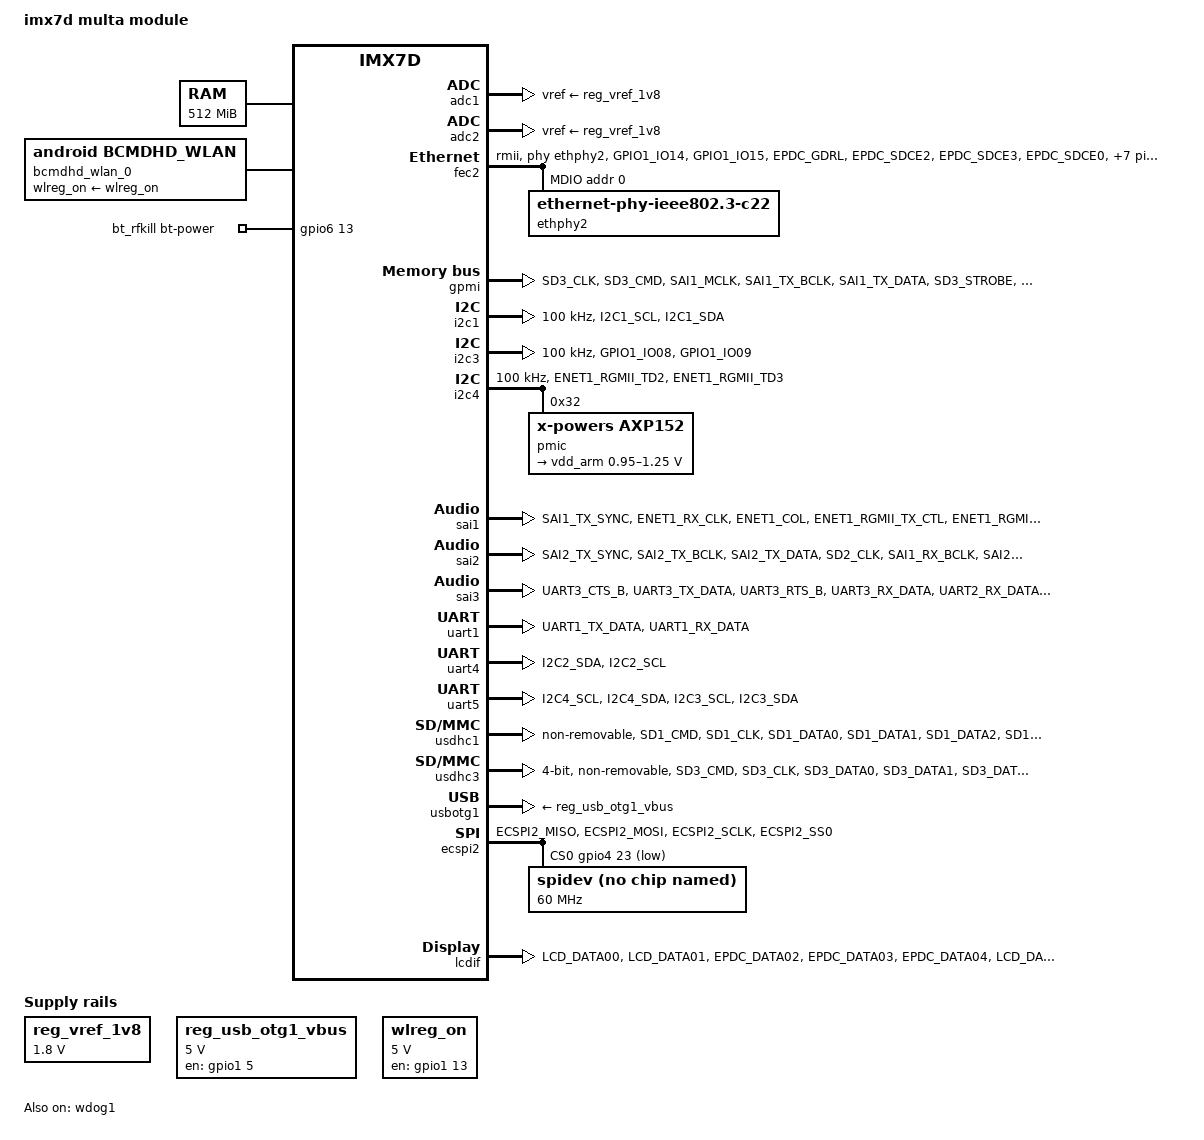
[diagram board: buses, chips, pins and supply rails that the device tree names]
/*
 * This program is free software; you can redistribute it and/or modify
 * it under the terms of the GNU General Public License version 2 as
 * published by the Free Software Foundation.
 */

#include <dt-bindings/input/input.h>
#include "imx7d.dtsi"

/ {
	model = "imx7d multa module";
	compatible = "fsl,imx7d";

	aliases {
		mxcfb0 = &mxcfb1;
	};

	memory {
		reg = <0x80000000 0x20000000>;
	};

	regulators {
		compatible = "simple-bus";
		#address-cells = <1>;
		#size-cells = <0>;

		reg_vref_1v8: regulator@0 {
			compatible = "regulator-fixed";
			reg = <0>;
			regulator-name = "vref-1v8";
			regulator-min-microvolt = <1800000>;
			regulator-max-microvolt = <1800000>;
		};

		reg_usb_otg1_vbus: regulator@1 {
			pinctrl-names = "default";
			pinctrl-0 = <&pinctrl_usbotg2_pwr_1>;
			compatible = "regulator-fixed";
			reg = <0>;
			regulator-name = "usb_otg1_vbus";
			regulator-min-microvolt = <5000000>;
			regulator-max-microvolt = <5000000>;
			gpio = <&gpio1 5 GPIO_ACTIVE_HIGH>;
			enable-active-high;
		};

		wlreg_on: fixedregulator@100 {
			compatible = "regulator-fixed";
			regulator-min-microvolt = <5000000>;
			regulator-max-microvolt = <5000000>;
			regulator-name = "wlreg_on";
			gpio = <&gpio1 13 GPIO_ACTIVE_HIGH>;
			enable-active-high;
		};
	};

	sound-xtor-1 {
		compatible = "fsl,imx-audio-xtor";
		model = "xtor-audio-1";
		cpu-dai = <&sai1>;
		clocks = <&clks IMX7D_AUDIO_MCLK_ROOT_CLK>;
		clock-names = "mclk";
	};

	sound-xtor-2 {
		compatible = "fsl,imx-audio-xtor";
		model = "xtor-audio-2";
		cpu-dai = <&sai2>;
	};

	sound-xtor-3 {
		compatible = "fsl,imx-audio-xtor";
		model = "xtor-audio-3";
		cpu-dai = <&sai3>;
		rx-cb-slave = <1>;
		rx-cf-slave = <1>;
	};

	bcmdhd_wlan_0: bcmdhd_wlan@0 {
		compatible = "android,bcmdhd_wlan";
		wlreg_on-supply = <&wlreg_on>;
	};

	bt_rfkill {
		compatible = "fsl,mxc_bt_rfkill";
		bt-power-gpios = <&gpio6 13 0>;
		status ="okay";
	};

	mxcfb1: fb@0 {
		compatible = "fsl,mxc_sdc_fb";
		disp_dev = "lcdif";
		interface_pix_fmt = "RGB24";
		default_bpp = <32>;
		int_clk = <0>;
		late_init = <0>;
		status = "okay";
	};
};

&adc1 {
	vref-supply = <&reg_vref_1v8>;
	status = "okay";
};

&adc2 {
	vref-supply = <&reg_vref_1v8>;
	status = "okay";
};

&caam_sm {
	status = "disabled";
};

&caam_snvs {
	status = "disabled";
};

&cpu0 {
	arm-supply = <&vdd_arm>;
};

&crypto {
	status = "disabled";
};

&fec2 {
	pinctrl-names = "default";
	pinctrl-0 = <&pinctrl_enet2>;
	status = "okay";
	pinctrl-assert-gpios = <&gpio5 11 GPIO_ACTIVE_LOW>;

	assigned-clocks = <&clks IMX7D_ENET2_TIME_ROOT_SRC>,
			  <&clks IMX7D_ENET2_TIME_ROOT_CLK>,
			  <&clks IMX7D_ENET2_REF_ROOT_SRC>,
			  <&clks IMX7D_ENET2_REF_ROOT_CLK>;
	assigned-clock-parents = <&clks IMX7D_PLL_ENET_MAIN_100M_CLK>, <0>, <&clks IMX7D_PLL_ENET_MAIN_50M_CLK>, <0>;
	assigned-clock-rates = <0>, <100000000>, <0>, <50000000>;

	/* Override this list so we can change the last one (enet_out) */
	clocks = <&clks IMX7D_ENET_AXI_ROOT_CLK>,
		 <&clks IMX7D_ENET_AXI_ROOT_CLK>,
		 <&clks IMX7D_ENET2_TIME_ROOT_CLK>,
		 <&clks IMX7D_PLL_ENET_MAIN_125M_CLK>,
		 <&clks IMX7D_ENET2_REF_ROOT_CLK>;

	phy-mode = "rmii";

	phy-reset-gpios = <&gpio5 0 GPIO_ACTIVE_LOW>;
	phy-reset-duration = <10>;

	phy-handle = <&ethphy2>;

	mdio_bus: mdio {
		#address-cells = <1>;
		#size-cells = <0>;

		/* NOTE: The phy address of this node gets patched by U-Boot before booting,
		 * we need this to easily support the legacy L1 modules. Keep this in mind
		 * if you want to change anything here.
		 */
		ethphy2: ethernet-phy@0 {
			compatible = "ethernet-phy-ieee802.3-c22";
			reg = <0>;
		};
	};
};

&gpmi {
	pinctrl-names = "default";
	pinctrl-0 = <&pinctrl_gpmi_nand_1>;
	status = "okay";
	nand-on-flash-bbt;
};

&i2c1 {
	clock-frequency = <100000>;
	pinctrl-names = "default";
	pinctrl-0 = <&pinctrl_i2c1>;
	status = "okay";
};

&i2c3 {
	clock-frequency = <100000>;
	pinctrl-names = "default";
	pinctrl-0 = <&pinctrl_i2c3>;
	status = "okay";
};

&i2c4 {
	clock-frequency = <100000>;
	pinctrl-names = "default";
	pinctrl-0 = <&pinctrl_i2c4>;
	status = "okay";

	pmic: axp152@32 {
		compatible = "x-powers,axp152";
		reg = <0x32>;

		regulators {
			vdd_arm: dcdc4 {
				regulator-name = "vdd_arm";
				regulator-min-microvolt = <950000>;
				regulator-max-microvolt = <1250000>;
				regulator-boot-on;
				regulator-always-on;
			};
		};
	};

};

&irq_sec_vio {
	status = "disabled";
};

/*
 * NOTES for the last number in every line:
 * 	PAD_CTL_PUS_100K_DOWN	(0 << 5)
 * 	PAD_CTL_PUS_5K_UP	(1 << 5)
 * 	PAD_CTL_PUS_47K_UP	(2 << 5)
 * 	PAD_CTL_PUS_100K_UP	(3 << 5)
 * 	PAD_CTL_PUE		(1 << 4)
 * 	PAD_CTL_HYS		(1 << 3)
 * 	PAD_CTL_SRE_SLOW	(1 << 2)
 * 	PAD_CTL_SRE_FAST	(0 << 2)
 * 	PAD_CTL_DSE_X1		(0 << 0) \
 * 	PAD_CTL_DSE_X2		(2 << 0)  |___ NOTE: the numbering here is not a typo!
 * 	PAD_CTL_DSE_X4		(1 << 0)  |
 * 	PAD_CTL_DSE_X6		(3 << 0) /
 * 	NO_PAD_CTL		(1 << 31): indicate this pin does not need config.
 * 	SIO			(1 << 30): Software Input On Field.
 */
&iomuxc {
	pinctrl-names = "default";
	pinctrl-0 = <&pinctrl_32kHz>, <&pinctrl_gpio>;

	imx7d-multa {

		pinctrl_bt_wake: btwake {
			fsl,pins = <
				MX7D_PAD_SD2_WP__GPIO5_IO10		0x14
			 >;
		 };

		pinctrl_gpio: gpio {
			fsl,pins = <
				 MX7D_PAD_GPIO1_IO11__GPIO1_IO11	0x14
			>;
		};

		pinctrl_wifi: wifigrp {
			fsl,pins = <
				MX7D_PAD_ECSPI2_SCLK__GPIO4_IO20	0x14 /* PCIE_W_DISABLE */
				MX7D_PAD_ECSPI2_SS0__GPIO4_IO23		0x14 /* PCIE_PERSTN */
				MX7D_PAD_SD1_RESET_B__GPIO5_IO2		0x14 /* WiFi PDn */
			>;
		};

		pinctrl_32kHz: _32kHzgrp {
			fsl,pins = <
				MX7D_PAD_SD1_WP__CCM_CLKO2		0x14
			>;
		};

		pinctrl_enet2: enet2grp {
			fsl,pins = <
				MX7D_PAD_GPIO1_IO14__ENET2_MDIO		0x03
				MX7D_PAD_GPIO1_IO15__ENET2_MDC		0x03

				MX7D_PAD_EPDC_GDRL__ENET2_RGMII_TX_CTL	0x01
				MX7D_PAD_EPDC_SDCE2__ENET2_RGMII_TD0	0x01
				MX7D_PAD_EPDC_SDCE3__ENET2_RGMII_TD1	0x01

				MX7D_PAD_EPDC_SDCE0__ENET2_RGMII_RX_CTL	0x01
				MX7D_PAD_EPDC_SDCLK__ENET2_RGMII_RD0	0x01
				MX7D_PAD_EPDC_SDLE__ENET2_RGMII_RD1	0x01
				MX7D_PAD_EPDC_SDCE1__ENET2_RX_ER	0x01

				MX7D_PAD_EPDC_BDR0__CCM_ENET_REF_CLK2	0x40000001

				/* IRQ */
				MX7D_PAD_SD2_RESET_B__GPIO5_IO11	0x80000000

				/* nRESET pin */
				MX7D_PAD_SD1_CD_B__GPIO5_IO0	0x80000000
			>;
		};

		pinctrl_gpmi_nand_1: gpmi-nand-1 {
			fsl,pins = <
				MX7D_PAD_SD3_CLK__NAND_CLE		0x71
				MX7D_PAD_SD3_CMD__NAND_ALE		0x71
				MX7D_PAD_SAI1_MCLK__NAND_WP_B		0x71
				MX7D_PAD_SAI1_TX_BCLK__NAND_CE0_B	0x71
				MX7D_PAD_SAI1_TX_DATA__NAND_READY_B	0x74
				MX7D_PAD_SD3_STROBE__NAND_RE_B		0x71
				MX7D_PAD_SD3_RESET_B__NAND_WE_B		0x71
				MX7D_PAD_SD3_DATA0__NAND_DATA00		0x71
				MX7D_PAD_SD3_DATA1__NAND_DATA01		0x71
				MX7D_PAD_SD3_DATA2__NAND_DATA02		0x71
				MX7D_PAD_SD3_DATA3__NAND_DATA03		0x71
				MX7D_PAD_SD3_DATA4__NAND_DATA04		0x71
				MX7D_PAD_SD3_DATA5__NAND_DATA05		0x71
				MX7D_PAD_SD3_DATA6__NAND_DATA06		0x71
				MX7D_PAD_SD3_DATA7__NAND_DATA07		0x71
			>;
		};

		pinctrl_i2c1: i2c1grp {
			 fsl,pins = <
				MX7D_PAD_I2C1_SCL__I2C1_SCL         0x4000007f
				MX7D_PAD_I2C1_SDA__I2C1_SDA         0x4000007f
			>;
		};

		pinctrl_i2c3: i2c3grp {
			 fsl,pins = <
				MX7D_PAD_GPIO1_IO08__I2C3_SCL       0x4000007f
				MX7D_PAD_GPIO1_IO09__I2C3_SDA       0x4000007f
			>;
		};

		pinctrl_i2c4: i2c4grp {
			fsl,pins = <
				MX7D_PAD_ENET1_RGMII_TD2__I2C4_SCL	0x4000007f
				MX7D_PAD_ENET1_RGMII_TD3__I2C4_SDA	0x4000007f
			>;
		};

		pinctrl_sai1: sai1grp {
			fsl,pins = <
				MX7D_PAD_SAI1_TX_SYNC__SAI1_TX_SYNC         0x13
				MX7D_PAD_ENET1_RX_CLK__SAI1_TX_BCLK   	    0x13
				MX7D_PAD_ENET1_COL__SAI1_TX_DATA0	          0x13
				MX7D_PAD_ENET1_RGMII_TX_CTL__SAI1_RX_SYNC  	0x13
				MX7D_PAD_ENET1_RGMII_TXC__SAI1_RX_BCLK	    0x13
				MX7D_PAD_SAI1_RX_DATA__SAI1_RX_DATA0	      0x13
			>;
		};

		pinctrl_sai2: sai2grp {
			fsl,pins = <
				MX7D_PAD_SAI2_TX_SYNC__SAI2_TX_SYNC     0x13
				MX7D_PAD_SAI2_TX_BCLK__SAI2_TX_BCLK     0x13
				MX7D_PAD_SAI2_TX_DATA__SAI2_TX_DATA0	  0x13
				MX7D_PAD_SD2_CLK__SAI2_RX_SYNC          0x13
				MX7D_PAD_SAI1_RX_BCLK__SAI2_RX_BCLK   	0x13
				MX7D_PAD_SAI2_RX_DATA__SAI2_RX_DATA0    0x13
			>;
		};

		pinctrl_sai3: sai3grp {
			fsl,pins = <
				MX7D_PAD_UART3_CTS_B__SAI3_TX_SYNC        0x13
				MX7D_PAD_UART3_TX_DATA__SAI3_TX_BCLK      0x13
				MX7D_PAD_UART3_RTS_B__SAI3_TX_DATA0 	    0x13
				MX7D_PAD_UART3_RX_DATA__SAI3_RX_SYNC      0x13
				MX7D_PAD_UART2_RX_DATA__SAI3_RX_BCLK      0x13
				MX7D_PAD_UART2_TX_DATA__SAI3_RX_DATA0 	  0x13
			>;
		};

		pinctrl_uart1: uart1grp {
			fsl,pins = <
				MX7D_PAD_UART1_TX_DATA__UART1_DCE_TX	0x79
				MX7D_PAD_UART1_RX_DATA__UART1_DCE_RX	0x79
			>;
		};

		pinctrl_uart4: uart4grp {
			fsl,pins = <
				MX7D_PAD_I2C2_SDA__UART4_DCE_TX    0x79
				MX7D_PAD_I2C2_SCL__UART4_DCE_RX    0x79
			>;
		};

		pinctrl_uart5: uart5grp {
			fsl,pins = <
				MX7D_PAD_I2C4_SCL__UART5_DCE_RX		0x79
				MX7D_PAD_I2C4_SDA__UART5_DCE_TX		0x79
				MX7D_PAD_I2C3_SCL__UART5_DCE_CTS	0x79
				MX7D_PAD_I2C3_SDA__UART5_DCE_RTS	0x79
			>;
		};
		pinctrl_usdhc1: usdhc1grp {
			fsl,pins = <
				MX7D_PAD_SD1_CMD__SD1_CMD		0x59
				MX7D_PAD_SD1_CLK__SD1_CLK		0x19
				MX7D_PAD_SD1_DATA0__SD1_DATA0		0x59
				MX7D_PAD_SD1_DATA1__SD1_DATA1		0x59
				MX7D_PAD_SD1_DATA2__SD1_DATA2		0x59
				MX7D_PAD_SD1_DATA3__SD1_DATA3		0x59
				MX7D_PAD_SD1_RESET_B__SD1_RESET_B	0x59
				MX7D_PAD_GPIO1_IO13__GPIO1_IO13		0x59	/* WL_REG_ON */
				MX7D_PAD_SAI1_TX_BCLK__GPIO6_IO13	0x59	/* BT_REG_ON */
			>;
		};

		pinctrl_usdhc1_100mhz: usdhc1grp_100mhz {
			fsl,pins = <
				MX7D_PAD_SD1_CMD__SD1_CMD		0x5a
				MX7D_PAD_SD1_CLK__SD1_CLK		0x1a
				MX7D_PAD_SD1_DATA0__SD1_DATA0		0x5a
				MX7D_PAD_SD1_DATA1__SD1_DATA1		0x5a
				MX7D_PAD_SD1_DATA2__SD1_DATA2		0x5a
				MX7D_PAD_SD1_DATA3__SD1_DATA3		0x5a
			>;
		};

		pinctrl_usdhc1_200mhz: usdhc1grp_200mhz {
			fsl,pins = <
				MX7D_PAD_SD1_CMD__SD1_CMD		0x5b
				MX7D_PAD_SD1_CLK__SD1_CLK		0x1b
				MX7D_PAD_SD1_DATA0__SD1_DATA0		0x5b
				MX7D_PAD_SD1_DATA1__SD1_DATA1		0x5b
				MX7D_PAD_SD1_DATA2__SD1_DATA2		0x5b
				MX7D_PAD_SD1_DATA3__SD1_DATA3		0x5b
			>;
		};

		pinctrl_usdhc3: usdhc3grp {
			fsl,pins = <
				MX7D_PAD_SD3_CMD__SD3_CMD		0x59
				MX7D_PAD_SD3_CLK__SD3_CLK		0x19
				MX7D_PAD_SD3_DATA0__SD3_DATA0		0x59
				MX7D_PAD_SD3_DATA1__SD3_DATA1		0x59
				MX7D_PAD_SD3_DATA2__SD3_DATA2		0x59
				MX7D_PAD_SD3_DATA3__SD3_DATA3		0x59
				MX7D_PAD_SD3_DATA4__SD3_DATA4		0x59
				MX7D_PAD_SD3_DATA5__SD3_DATA5		0x59
				MX7D_PAD_SD3_DATA6__SD3_DATA6		0x59
				MX7D_PAD_SD3_DATA7__GPIO6_IO9		0x59 /* cpu module sd cd pin */
			>;
		};

		pinctrl_usdhc3_100mhz: usdhc3grp_100mhz {
			fsl,pins = <
				MX7D_PAD_SD3_CMD__SD3_CMD		0x5a
				MX7D_PAD_SD3_CLK__SD3_CLK		0x1a
				MX7D_PAD_SD3_DATA0__SD3_DATA0		0x5a
				MX7D_PAD_SD3_DATA1__SD3_DATA1		0x5a
				MX7D_PAD_SD3_DATA2__SD3_DATA2		0x5a
				MX7D_PAD_SD3_DATA3__SD3_DATA3		0x5a
				MX7D_PAD_SD3_DATA4__SD3_DATA4		0x5a
				MX7D_PAD_SD3_DATA5__SD3_DATA5		0x5a
				MX7D_PAD_SD3_DATA6__SD3_DATA6		0x5a
				MX7D_PAD_SD3_DATA7__GPIO6_IO9		0x15 /* cpu module sd cd pin */
			>;
		};

		pinctrl_usdhc3_200mhz: usdhc3grp_200mhz {
			fsl,pins = <
				MX7D_PAD_SD3_CMD__SD3_CMD		0x5b
				MX7D_PAD_SD3_CLK__SD3_CLK		0x1b
				MX7D_PAD_SD3_DATA0__SD3_DATA0		0x5b
				MX7D_PAD_SD3_DATA1__SD3_DATA1		0x5b
				MX7D_PAD_SD3_DATA2__SD3_DATA2		0x5b
				MX7D_PAD_SD3_DATA3__SD3_DATA3		0x5b
				MX7D_PAD_SD3_DATA4__SD3_DATA4		0x5b
				MX7D_PAD_SD3_DATA5__SD3_DATA5		0x5b
				MX7D_PAD_SD3_DATA6__SD3_DATA6		0x5b
				MX7D_PAD_SD3_DATA7__GPIO6_IO9		0x15 /* cpu module sd cd pin */
			>;
		};

		pinctrl_ecspi2: ecspi2grp {
			fsl,pins = <
				MX7D_PAD_ECSPI2_MISO__ECSPI2_MISO	0x2
				MX7D_PAD_ECSPI2_MOSI__ECSPI2_MOSI	0x2
				MX7D_PAD_ECSPI2_SCLK__ECSPI2_SCLK	0x2
			>;
		};

		pinctrl_ecspi2_cs: ecspi2_cs_grp {
			fsl,pins = <
				MX7D_PAD_ECSPI2_SS0__GPIO4_IO23	0x80000000
			>;
		};

		pinctrl_lcdif_dat: lcdifdatgrp {
			fsl,pins = <
				MX7D_PAD_LCD_DATA00__LCD_DATA0	0x79
				MX7D_PAD_LCD_DATA01__LCD_DATA1	0x79
				MX7D_PAD_EPDC_DATA02__LCD_DATA2	0x79
				MX7D_PAD_EPDC_DATA03__LCD_DATA3	0x79
				MX7D_PAD_EPDC_DATA04__LCD_DATA4	0x79
				MX7D_PAD_LCD_DATA03__LCD_DATA3	0x79
				MX7D_PAD_LCD_DATA04__LCD_DATA4	0x79
				MX7D_PAD_LCD_DATA05__LCD_DATA5	0x79
				MX7D_PAD_LCD_DATA06__LCD_DATA6	0x79
				MX7D_PAD_LCD_DATA07__LCD_DATA7	0x79
				MX7D_PAD_LCD_DATA08__LCD_DATA8	0x79
				MX7D_PAD_LCD_DATA09__LCD_DATA9	0x79
				MX7D_PAD_LCD_DATA10__LCD_DATA10	0x79
				MX7D_PAD_LCD_DATA11__LCD_DATA11	0x79
				MX7D_PAD_LCD_DATA12__LCD_DATA12	0x79
				MX7D_PAD_LCD_DATA13__LCD_DATA13	0x79
				MX7D_PAD_LCD_DATA14__LCD_DATA14	0x79
				MX7D_PAD_LCD_DATA15__LCD_DATA15	0x79
			>;
		};

		pinctrl_lcdif_ctrl: lcdifctrlgrp {
			fsl,pins = <
				MX7D_PAD_LCD_CLK__LCD_CLK				0x79
				MX7D_PAD_EPDC_BDR1__LCD_ENABLE	0x79
				MX7D_PAD_LCD_VSYNC__LCD_VSYNC		0x79
				MX7D_PAD_LCD_HSYNC__LCD_HSYNC		0x79
				MX7D_PAD_GPIO1_IO10__PWM3_OUT		0x14
				//MX7D_PAD_LCD_RESET, NC in schematic
			>;
		};
	};
};

&iomuxc_lpsr {
	pinctrl-names = "default";

	imx7d-multa {
		pinctrl_usbotg2_pwr_1: usbotg1-2 {
			fsl,pins = <
				MX7D_PAD_GPIO1_IO05__GPIO1_IO5	0x14
			>;
		};

		pinctrl_sai1_mclk: sai1grp_mclk {
			fsl,pins = <
				MX7D_PAD_GPIO1_IO01__SAI1_MCLK	0x14
			>;
		};

		pinctrl_wdog1: wdog1grp {
			fsl,pins = <
				MX7D_PAD_GPIO1_IO00__WDOD1_WDOG_B 0x74
			>;
		};

		pinctrl_bt_host_wake: bthostwake {
			fsl,pins = <
				MX7D_PAD_GPIO1_IO02__GPIO1_IO2 0x14
			>;
		};

		pinctrl_wifi_host_wake: wifihostwake {
			fsl,pins = <
				MX7D_PAD_GPIO1_IO04__GPIO1_IO4 0x14
			>;
		};
	};
};

&pcie {
	pinctrl-names = "default";
	pinctrl-0 = <&pinctrl_wifi>;

	reset-gpio = <&gpio4 23 GPIO_ACTIVE_LOW>;
	disable-gpio = <&gpio4 20 GPIO_ACTIVE_LOW>;
	power-on-gpio = <&gpio5 2 GPIO_ACTIVE_LOW>;

	status = "disabled";
};

&sai1 {
	/*
	 * We are setting the clock rate of SAI1_ROOT_CLK to to the MCLK for 48kHz and the PLL is
	 * set so we can generate the MCLK for 48kHz. This will preconfigure the divider so when
	 * we switch the PLL to a frequency for 44.1kHz, we don't need to change any dividers to
	 * have the proper MCLK.
	 */
	pinctrl-names = "default";
	pinctrl-0 = <&pinctrl_sai1 &pinctrl_sai1_mclk>;
	assigned-clocks = <&clks IMX7D_PLL_AUDIO_POST_DIV>,
			  <&clks IMX7D_SAI1_ROOT_SRC>,
			  <&clks IMX7D_SAI1_ROOT_CLK>,
			  <&clks IMX7D_AUDIO_MCLK_ROOT_SRC>,
			  <&clks IMX7D_AUDIO_MCLK_ROOT_CLK>;
	assigned-clock-parents = <0>, <&clks IMX7D_PLL_AUDIO_POST_DIV>, <0>, <&clks IMX7D_PLL_AUDIO_POST_DIV>, <0>;
	assigned-clock-rates = <884736000>, <0>, <24576000>, <0>, <36864000>;
	sue,persistent-clocks;
	status = "okay";
};

&sai2 {
	pinctrl-names = "default";
	pinctrl-0 = <&pinctrl_sai2>;
	assigned-clocks = <&clks IMX7D_PLL_AUDIO_POST_DIV>,
			  <&clks IMX7D_SAI2_ROOT_SRC>,
			  <&clks IMX7D_SAI2_ROOT_CLK>;
	assigned-clock-parents = <0>, <&clks IMX7D_PLL_AUDIO_POST_DIV>;
	assigned-clock-rates = <884736000>, <0>, <24576000>;
	sue,persistent-clocks;
	status = "okay";
};


&sai3 {
	pinctrl-names = "default";
	pinctrl-0 = <&pinctrl_sai3>;
	assigned-clocks = <&clks IMX7D_PLL_AUDIO_POST_DIV>,
	                  <&clks IMX7D_SAI3_ROOT_SRC>,
	                  <&clks IMX7D_SAI3_ROOT_CLK>;
	assigned-clock-parents = <0>, <&clks IMX7D_PLL_AUDIO_POST_DIV>;
	assigned-clock-rates = <884736000>, <0>, <24576000>;
	sue,persistent-clocks;
	status = "okay";
};


&snvs_poweroff {
	/*
	 * We disable the poweroff driver since we are using the PMIC for
	 * poweroff.
	 */
	status = "disabled";
};

&snvs_pwrkey {
	status = "disabled";
};

&uart1 {
	pinctrl-names = "default";
	pinctrl-0 = <&pinctrl_uart1>;
	assigned-clocks = <&clks IMX7D_UART1_ROOT_SRC>;
	assigned-clock-parents = <&clks IMX7D_OSC_24M_CLK>;
	status = "okay";
};

&uart4 {
	pinctrl-names = "default";
	pinctrl-0 = <&pinctrl_uart4>;
	assigned-clocks = <&clks IMX7D_UART4_ROOT_SRC>;
	assigned-clock-parents = <&clks IMX7D_OSC_24M_CLK>;
	status = "okay";
};

&uart5 {
	pinctrl-names = "default";
	pinctrl-0 = <&pinctrl_uart5>;
	assigned-clocks = <&clks IMX7D_UART5_ROOT_SRC>;
	assigned-clock-parents = <&clks IMX7D_PLL_SYS_MAIN_240M_CLK>;
	fsl,uart-has-rtscts;
	status = "okay";
};

&usdhc1 {
	pinctrl-names = "default", "state_100mhz", "state_200mhz";
	pinctrl-0 = <&pinctrl_usdhc1 &pinctrl_wifi_host_wake &pinctrl_bt_host_wake &pinctrl_bt_wake>;
	pinctrl-1 = <&pinctrl_usdhc1_100mhz>;
	pinctrl-2 = <&pinctrl_usdhc1_200mhz>;
	enable-sdio-wakeup;
	keep-power-in-suspend;
	non-removable;
	cd-post;
	pm-ignore-notify;
	wifi-host;
	status = "okay";
};

&usdhc3 {
	pinctrl-names = "default", "state_100mhz", "state_200mhz";
	pinctrl-0 = <&pinctrl_usdhc3>;
	pinctrl-1 = <&pinctrl_usdhc3_100mhz>;
	pinctrl-2 = <&pinctrl_usdhc3_200mhz>;
	cd-gpios = <&gpio6 9 GPIO_ACTIVE_LOW>;
	assigned-clocks = <&clks IMX7D_USDHC3_ROOT_CLK>;
	assigned-clock-rates = <400000000>;
	bus-width = <4>;
	non-removable;
	tuning-step = <2>;
	enable-sdio-wakeup;
	no-1-8-v;
	keep-power-in-suspend;
	status = "okay";
};

&usbotg1 {
	vbus-supply = <&reg_usb_otg1_vbus>;
	srp-disable;
	hnp-disable;
	adp-disable;
	status = "okay";
};

&wdog1 {
	pinctrl-0 = <&pinctrl_wdog1>;
	fsl,wdog_b;
	status = "okay";
};

&ecspi2 {
	fsl,spi-num-chipselects = <1>;
	cs-gpios = <&gpio4 23 GPIO_ACTIVE_LOW>;
	pinctrl-names = "default";
	pinctrl-0 = <&pinctrl_ecspi2 &pinctrl_ecspi2_cs>;
	status = "okay";

	spidev@0 {
		compatible = "rohm,dh2228fv";
		spi-max-frequency = <60000000>;
		reg = <0>;
	};
};


&lcdif {
	pinctrl-names = "default";
	pinctrl-0 = <&pinctrl_lcdif_dat
		     &pinctrl_lcdif_ctrl>;
/*	lcd-supply = <&lcd_on>; */
	display = <&display0>;
	status = "okay";

/* please set the parameters accroding to the special LCD device */
	display0: display {
		bits-per-pixel = <16>;
		bus-width = <24>;

		display-timings {
			native-mode = <&timing0>;
			timing0: timing0 {
				clock-frequency = <33260000>;
				hactive = <800>;
				vactive = <480>;
				hback-porch = <11>;
				hfront-porch = <11>;
				vback-porch = <12>;
				vfront-porch = <11>;
				hsync-len = <46>;
				vsync-len = <210>;
				hsync-active = <0>;
				vsync-active = <0>;
				de-active = <1>;
				pixelclk-active = <1>;
				interlaced =  <0>;
			};
		};
	};
};
